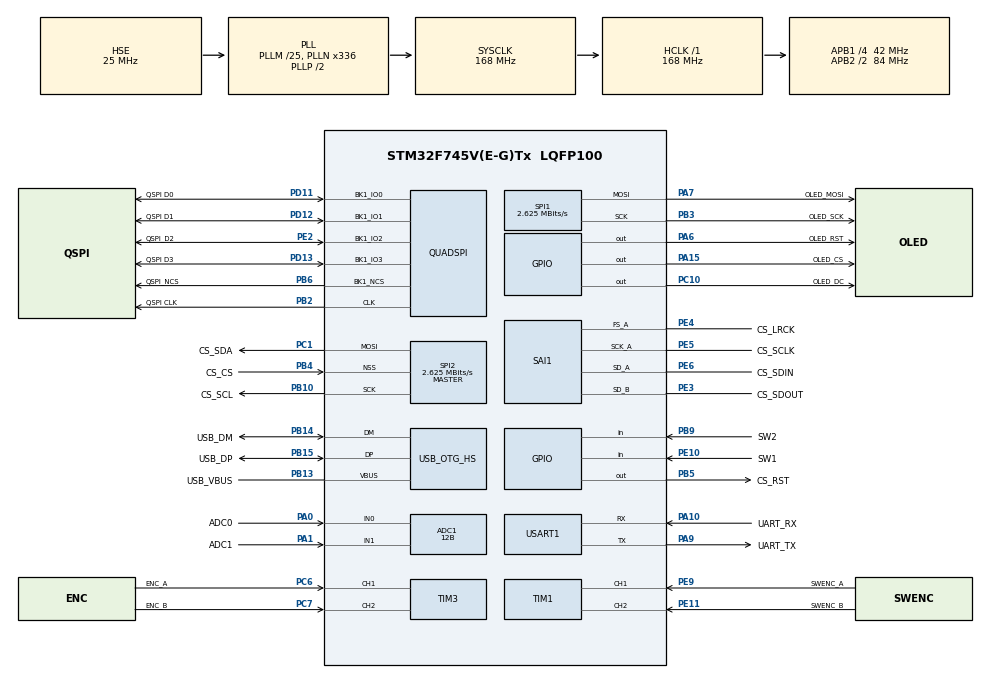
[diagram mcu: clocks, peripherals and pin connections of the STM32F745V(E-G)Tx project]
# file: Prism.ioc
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ADC1.Channel-4\#ChannelRegularConversion=ADC_CHANNEL_0
ADC1.Channel-5\#ChannelRegularConversion=ADC_CHANNEL_1
ADC1.ClockPrescaler=ADC_CLOCK_SYNC_PCLK_DIV8
ADC1.ContinuousConvMode=ENABLE
ADC1.DMAContinuousRequests=ENABLE
ADC1.DataAlign=ADC_DATAALIGN_RIGHT
ADC1.DiscontinuousConvMode=DISABLE
ADC1.EOCSelection=ADC_EOC_SINGLE_CONV
ADC1.EnableAnalogWatchDog=false
ADC1.ExternalTrigConvEdge=ADC_EXTERNALTRIGCONVEDGE_NONE
ADC1.InjNumberOfConversion=0
ADC1.NbrOfConversion=2
ADC1.NbrOfConversionFlag=1
ADC1.Rank-4\#ChannelRegularConversion=1
ADC1.Rank-5\#ChannelRegularConversion=2
ADC1.Resolution=ADC_RESOLUTION_12B
ADC1.SamplingTime-4\#ChannelRegularConversion=ADC_SAMPLETIME_144CYCLES
ADC1.SamplingTime-5\#ChannelRegularConversion=ADC_SAMPLETIME_144CYCLES
ADC1.ScanConvMode=ENABLE
ADC1.master=1
CORTEX_M7.ART_ACCLERATOR_ENABLE=0
CORTEX_M7.CPU_DCache=Disabled
CORTEX_M7.CPU_ICache=Disabled
CORTEX_M7.PREFETCH_ENABLE=0
Dma.ADC1.2.Direction=DMA_PERIPH_TO_MEMORY
Dma.ADC1.2.FIFOMode=DMA_FIFOMODE_DISABLE
Dma.ADC1.2.Instance=DMA2_Stream0
Dma.ADC1.2.MemDataAlignment=DMA_MDATAALIGN_HALFWORD
Dma.ADC1.2.MemInc=DMA_MINC_ENABLE
Dma.ADC1.2.Mode=DMA_CIRCULAR
Dma.ADC1.2.PeriphDataAlignment=DMA_PDATAALIGN_HALFWORD
Dma.ADC1.2.PeriphInc=DMA_PINC_DISABLE
Dma.ADC1.2.Priority=DMA_PRIORITY_LOW
Dma.Request0=SAI1_A
Dma.Request1=SAI1_B
Dma.Request2=ADC1
Dma.Request3=SPI1_TX
Dma.SAI1_A.0.Direction=DMA_MEMORY_TO_PERIPH
Dma.SAI1_A.0.FIFOMode=DMA_FIFOMODE_DISABLE
Dma.SAI1_A.0.Instance=DMA2_Stream1
Dma.SAI1_A.0.MemDataAlignment=DMA_MDATAALIGN_WORD
Dma.SAI1_A.0.MemInc=DMA_MINC_ENABLE
Dma.SAI1_A.0.Mode=DMA_CIRCULAR
Dma.SAI1_A.0.PeriphDataAlignment=DMA_PDATAALIGN_WORD
Dma.SAI1_A.0.PeriphInc=DMA_PINC_DISABLE
Dma.SAI1_A.0.Priority=DMA_PRIORITY_VERY_HIGH
Dma.SAI1_B.1.Direction=DMA_PERIPH_TO_MEMORY
Dma.SAI1_B.1.FIFOMode=DMA_FIFOMODE_DISABLE
Dma.SAI1_B.1.Instance=DMA2_Stream4
Dma.SAI1_B.1.MemDataAlignment=DMA_MDATAALIGN_WORD
Dma.SAI1_B.1.MemInc=DMA_MINC_ENABLE
Dma.SAI1_B.1.Mode=DMA_CIRCULAR
Dma.SAI1_B.1.PeriphDataAlignment=DMA_PDATAALIGN_WORD
Dma.SAI1_B.1.PeriphInc=DMA_PINC_DISABLE
Dma.SAI1_B.1.Priority=DMA_PRIORITY_VERY_HIGH
Dma.SPI1_TX.3.Direction=DMA_MEMORY_TO_PERIPH
Dma.SPI1_TX.3.FIFOMode=DMA_FIFOMODE_DISABLE
Dma.SPI1_TX.3.Instance=DMA2_Stream5
Dma.SPI1_TX.3.MemDataAlignment=DMA_MDATAALIGN_BYTE
Dma.SPI1_TX.3.MemInc=DMA_MINC_ENABLE
Dma.SPI1_TX.3.Mode=DMA_NORMAL
Dma.SPI1_TX.3.PeriphDataAlignment=DMA_PDATAALIGN_BYTE
Dma.SPI1_TX.3.PeriphInc=DMA_PINC_DISABLE
Dma.SPI1_TX.3.Priority=DMA_PRIORITY_LOW
FREERTOS.MEMORY_ALLOCATION=2
FREERTOS.Tasks01=defaultTask,0,128,StartDefaultTask
FREERTOS.configCHECK_FOR_STACK_OVERFLOW=1
FREERTOS.configGENERATE_RUN_TIME_STATS=0
FREERTOS.configUSE_MALLOC_FAILED_HOOK=1
FREERTOS.configUSE_MUTEXES=0
FREERTOS.configUSE_PREEMPTION=0
Mcu.Family=STM32F7
Mcu.Name=STM32F745V(E-G)Tx
Mcu.Package=LQFP100
NVIC.DMA2_Stream0_IRQn=true\:10\:0\:true\:false\:true\:true\:true
NVIC.DMA2_Stream1_IRQn=true\:5\:0\:false\:false\:true\:true\:true
NVIC.DMA2_Stream4_IRQn=true\:5\:0\:false\:false\:true\:true\:true
NVIC.DMA2_Stream5_IRQn=true\:0\:0\:false\:false\:true\:false\:false
NVIC.OTG_HS_IRQn=true\:10\:0\:true\:false\:true\:true\:true
NVIC.PriorityGroup=NVIC_PRIORITYGROUP_4
NVIC.SAI1_IRQn=true\:5\:0\:false\:false\:true\:true\:true
NVIC.SPI1_IRQn=true\:10\:0\:true\:false\:true\:true\:true
PA0/WKUP.GPIO_Label=ADC0
PA0/WKUP.Signal=ADCx_IN0
PA1.GPIO_Label=ADC1
PA1.Signal=ADCx_IN1
PA10.GPIO_Label=UART_RX
PA10.Mode=Multiprocessor_communication
PA10.Signal=USART1_RX
PA13.GPIO_Label=SWDIO
PA13.Mode=Serial_Wire
PA13.Signal=SYS_JTMS-SWDIO
PA14.GPIO_Label=SWDCLK
PA14.Mode=Serial_Wire
PA14.Signal=SYS_JTCK-SWCLK
PA15.GPIO_Label=OLED_CS
PA15.Signal=GPIO_Output
PA6.GPIO_Label=OLED_RST
PA6.Signal=GPIO_Output
PA7.GPIO_Label=OLED_MOSI
PA7.Mode=TX_Only_Simplex_Unidirect_Master
PA7.Signal=SPI1_MOSI
PA9.GPIO_Label=UART_TX
PA9.Mode=Multiprocessor_communication
PA9.Signal=USART1_TX
PB10.GPIO_Label=CS_SCL
PB10.Mode=TX_Only_Simplex_Unidirect_Master
PB10.Signal=SPI2_SCK
PB13.GPIO_Label=USB_VBUS
PB13.Mode=Activate_VBUS_FS
PB13.Signal=USB_OTG_HS_VBUS
PB14.GPIO_Label=USB_DM
PB14.Mode=Device_Only_FS
PB14.Signal=USB_OTG_HS_DM
PB15.GPIO_Label=USB_DP
PB15.Mode=Device_Only_FS
PB15.Signal=USB_OTG_HS_DP
PB2.GPIO_Label=QSPI CLK
PB2.Mode=Single Bank 1
PB2.Signal=QUADSPI_CLK
PB3.GPIO_Label=OLED_SCK
PB3.Mode=TX_Only_Simplex_Unidirect_Master
PB3.Signal=SPI1_SCK
PB4.GPIO_Label=CS_CS
PB4.Mode=NSS_Signal_Hard_Input
PB4.Signal=SPI2_NSS
PB5.GPIO_Label=CS_RST
PB5.Signal=GPIO_Output
PB6.GPIO_Label=QSPI_NCS
PB6.Mode=Single Bank 1
PB6.Signal=QUADSPI_BK1_NCS
PB9.GPIO_Label=SW2
PB9.Signal=GPIO_Input
PC1.GPIO_Label=CS_SDA
PC1.Mode=TX_Only_Simplex_Unidirect_Master
PC1.Signal=SPI2_MOSI
PC10.GPIO_Label=OLED_DC
PC10.Signal=GPIO_Output
PC6.GPIO_Label=ENC_A
PC6.GPIO_PuPd=GPIO_PULLUP
PC6.Signal=S_TIM3_CH1
PC7.GPIO_Label=ENC_B
PC7.GPIO_PuPd=GPIO_PULLUP
PC7.Signal=S_TIM3_CH2
PD11.GPIO_Label=QSPI D0
PD11.Mode=Single Bank 1
PD11.Signal=QUADSPI_BK1_IO0
PD12.GPIO_Label=QSPI D1
PD12.Mode=Single Bank 1
PD12.Signal=QUADSPI_BK1_IO1
PD13.GPIO_Label=QSPI D3
PD13.Mode=Single Bank 1
PD13.Signal=QUADSPI_BK1_IO3
PE10.GPIO_Label=SW1
PE10.Signal=GPIO_Input
PE11.GPIO_Label=SWENC_B
PE11.GPIO_PuPd=GPIO_PULLUP
PE11.Signal=S_TIM1_CH2
PE2.GPIO_Label=QSPI_D2
PE2.Mode=Single Bank 1
PE2.Signal=QUADSPI_BK1_IO2
PE3.GPIO_Label=CS_SDOUT
PE3.GPIO_Speed=GPIO_SPEED_FREQ_LOW
PE3.Mode=SAI_B_SyncSlave
PE3.Signal=SAI1_SD_B
PE4.GPIO_Label=CS_LRCK
PE4.GPIO_Speed=GPIO_SPEED_FREQ_LOW
PE4.Mode=SAI_A_AsyncSlave
PE4.Signal=SAI1_FS_A
PE5.GPIO_Label=CS_SCLK
PE5.GPIO_Speed=GPIO_SPEED_FREQ_LOW
PE5.Mode=SAI_A_AsyncSlave
PE5.Signal=SAI1_SCK_A
PE6.GPIO_Label=CS_SDIN
PE6.GPIO_Speed=GPIO_SPEED_FREQ_LOW
PE6.Mode=SAI_A_AsyncSlave
PE6.Signal=SAI1_SD_A
PE9.GPIO_Label=SWENC_A
PE9.GPIO_PuPd=GPIO_PULLUP
PE9.Signal=S_TIM1_CH1
PH0/OSC_IN.Mode=HSE-External-Oscillator
PH0/OSC_IN.Signal=RCC_OSC_IN
PH1/OSC_OUT.Mode=HSE-External-Oscillator
PH1/OSC_OUT.Signal=RCC_OSC_OUT
ProjectManager.HeapSize=0x200
ProjectManager.StackSize=0x400
ProjectManager.TargetToolchain=MDK-ARM V5
RCC.AHBFreq_Value=168000000
RCC.APB1CLKDivider=RCC_HCLK_DIV4
RCC.APB1Freq_Value=42000000
RCC.APB1TimFreq_Value=84000000
RCC.APB2CLKDivider=RCC_HCLK_DIV2
RCC.APB2Freq_Value=84000000
RCC.APB2TimFreq_Value=168000000
RCC.CortexFreq_Value=168000000
RCC.HCLKFreq_Value=168000000
RCC.HSE_VALUE=25000000
RCC.HSI_VALUE=16000000
RCC.LSE_VALUE=32768
RCC.PLLM=25
RCC.PLLN=336
RCC.PLLQ=7
RCC.PLLSAIN=100
RCC.SYSCLKFreq_VALUE=168000000
RCC.SYSCLKSource=RCC_SYSCLKSOURCE_PLLCLK
RCC.USBFreq_Value=48000000
RCC.VCOOutputFreq_Value=336000000
RCC.VDD_VALUE=3.3
SAI1.AudioMode-SAI_A_AsyncSlave=SAI_MODESLAVE_TX
SAI1.AudioMode-SAI_B_SyncSlave=SAI_MODESLAVE_RX
SAI1.BasicDataSize-SAI_A_AsyncSlave=SAI_PROTOCOL_DATASIZE_24BIT
SAI1.BasicDataSize-SAI_B_SyncSlave=SAI_PROTOCOL_DATASIZE_24BIT
SAI1.InitProtocol-SAI_A_AsyncSlave=Enable
SAI1.InitProtocol-SAI_B_SyncSlave=Enable
SAI1.Instance-SAI_A_AsyncSlave=SAI$Index_Block_A
SAI1.Instance-SAI_B_SyncSlave=SAI$Index_Block_B
SAI1.MonoStereoMode-SAI_A_AsyncSlave=SAI_STEREOMODE
SAI1.Synchro-SAI_A_AsyncSlave=SAI_ASYNCHRONOUS
SAI1.Synchro-SAI_B_SyncSlave=SAI_SYNCHRONOUS
SAI1.VirtualMode-SAI_A_AsyncSlave=VM_SLAVE
SAI1.VirtualMode-SAI_B_SyncSlave=VM_SLAVE
SAI1.VirtualProtocol-SAI_A_BASIC=VM_BASIC_PROTOCOL
SAI1.VirtualProtocol-SAI_B_BASIC=VM_BASIC_PROTOCOL
SH.ADCx_IN0.0=ADC1_IN0,IN0
SH.ADCx_IN1.0=ADC1_IN1,IN1
SH.S_TIM1_CH1.0=TIM1_CH1,Encoder_Interface
SH.S_TIM1_CH2.0=TIM1_CH2,Encoder_Interface
SH.S_TIM3_CH1.0=TIM3_CH1,Encoder_Interface
SH.S_TIM3_CH2.0=TIM3_CH2,Encoder_Interface
SPI1.BaudRatePrescaler=SPI_BAUDRATEPRESCALER_32
SPI1.CalculateBaudRate=2.625 MBits/s
SPI1.DataSize=SPI_DATASIZE_8BIT
SPI1.Direction=SPI_DIRECTION_2LINES
SPI1.Mode=SPI_MODE_MASTER
SPI1.NSSPMode=SPI_NSS_PULSE_DISABLE
SPI1.VirtualType=VM_MASTER
SPI2.BaudRatePrescaler=SPI_BAUDRATEPRESCALER_16
SPI2.CalculateBaudRate=2.625 MBits/s
SPI2.DataSize=SPI_DATASIZE_8BIT
SPI2.Direction=SPI_DIRECTION_2LINES
SPI2.Mode=SPI_MODE_MASTER
SPI2.VirtualNSS=VM_NSSHARD
SPI2.VirtualType=VM_MASTER
USART1.VirtualMode=VM_ASYNC
USART1.VirtualMode-Multiprocessor_communication=VM_ASYNC
USB_DEVICE.CLASS_NAME_HS=AUDIO
USB_DEVICE.MANUFACTURER_STRING-AUDIO_HS=Rebel Technology
USB_DEVICE.PID_AUDIO_HS=0xDADA
USB_DEVICE.PRODUCT_STRING_AUDIO_HS=OWL-MIDI
USB_DEVICE.SERIALNUMBER_STRING_AUDIO_HS=00000000010F
USB_DEVICE.USBD_HandleTypeDef-AUDIO_HS=hUsbDeviceHS
USB_DEVICE.VID-AUDIO_HS=0x1209
USB_DEVICE.VirtualMode-AUDIO_HS=Audio
USB_DEVICE.VirtualModeHS=Audio_HS
USB_OTG_HS.VirtualMode-Device_Only_FS=Device_Only_FS
VP_ADC1_TempSens_Input.Mode=IN-TempSens
VP_ADC1_Vref_Input.Mode=IN-Vrefint
VP_FREERTOS_VS_ENABLE.Mode=Enabled
VP_SAI1_VP_$IpInstance_SAIA_SAI_BASIC.Mode=SAI_A_BASIC
VP_SAI1_VP_$IpInstance_SAIB_SAI_BASIC.Mode=SAI_B_BASIC
VP_USB_DEVICE_VS_USB_DEVICE_AUDIO_HS.Mode=AUDIO_HS
board=Prism

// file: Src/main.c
/**
  ******************************************************************************
  * File Name          : main.c
  * Description        : Main program body
  ******************************************************************************
  * This notice applies to any and all portions of this file
  * that are not between comment pairs USER CODE BEGIN and
  * USER CODE END. Other portions of this file, whether
  * inserted by the user or by software development tools
  * are owned by their respective copyright owners.
  *
  * Copyright (c) 2017 STMicroelectronics International N.V.
  * All rights reserved.
  *
  * Redistribution and use in source and binary forms, with or without
  * modification, are permitted, provided that the following conditions are met:
  *
  * 1. Redistribution of source code must retain the above copyright notice,
  *    this list of conditions and the following disclaimer.
  * 2. Redistributions in binary form must reproduce the above copyright notice,
  *    this list of conditions and the following disclaimer in the documentation
  *    and/or other materials provided with the distribution.
  * 3. Neither the name of STMicroelectronics nor the names of other
  *    contributors to this software may be used to endorse or promote products
  *    derived from this software without specific written permission.
  * 4. This software, including modifications and/or derivative works of this
  *    software, must execute solely and exclusively on microcontroller or
  *    microprocessor devices manufactured by or for STMicroelectronics.
  * 5. Redistribution and use of this software other than as permitted under
  *    this license is void and will automatically terminate your rights under
  *    this license.
  *
  * THIS SOFTWARE IS PROVIDED BY STMICROELECTRONICS AND CONTRIBUTORS "AS IS"
  * AND ANY EXPRESS, IMPLIED OR STATUTORY WARRANTIES, INCLUDING, BUT NOT
  * LIMITED TO, THE IMPLIED WARRANTIES OF MERCHANTABILITY, FITNESS FOR A
  * PARTICULAR PURPOSE AND NON-INFRINGEMENT OF THIRD PARTY INTELLECTUAL PROPERTY
  * RIGHTS ARE DISCLAIMED TO THE FULLEST EXTENT PERMITTED BY LAW. IN NO EVENT
  * SHALL STMICROELECTRONICS OR CONTRIBUTORS BE LIABLE FOR ANY DIRECT, INDIRECT,
  * INCIDENTAL, SPECIAL, EXEMPLARY, OR CONSEQUENTIAL DAMAGES (INCLUDING, BUT NOT
  * LIMITED TO, PROCUREMENT OF SUBSTITUTE GOODS OR SERVICES; LOSS OF USE, DATA,
  * OR PROFITS; OR BUSINESS INTERRUPTION) HOWEVER CAUSED AND ON ANY THEORY OF
  * LIABILITY, WHETHER IN CONTRACT, STRICT LIABILITY, OR TORT (INCLUDING
  * NEGLIGENCE OR OTHERWISE) ARISING IN ANY WAY OUT OF THE USE OF THIS SOFTWARE,
  * EVEN IF ADVISED OF THE POSSIBILITY OF SUCH DAMAGE.
  *
  ******************************************************************************
  */
#include "main.h"
#include "stm32f7xx_hal.h"
#include "cmsis_os.h"
#include "usb_device.h"

/* USER CODE BEGIN Includes */
void setup();
void loop(void);

/* USER CODE END Includes */

ADC_HandleTypeDef hadc1;
DMA_HandleTypeDef hdma_adc1;

QSPI_HandleTypeDef hqspi;

SAI_HandleTypeDef hsai_BlockA1;
SAI_HandleTypeDef hsai_BlockB1;
DMA_HandleTypeDef hdma_sai1_a;
DMA_HandleTypeDef hdma_sai1_b;

SPI_HandleTypeDef hspi1;
SPI_HandleTypeDef hspi2;
DMA_HandleTypeDef hdma_spi1_tx;

TIM_HandleTypeDef htim1;
TIM_HandleTypeDef htim3;

UART_HandleTypeDef huart1;

osThreadId defaultTaskHandle;

/* USER CODE BEGIN PV */
/* Private variables ---------------------------------------------------------*/

/* USER CODE END PV */

void SystemClock_Config(void);
static void MX_GPIO_Init(void);
static void MX_DMA_Init(void);
static void MX_ADC1_Init(void);
static void MX_QUADSPI_Init(void);
static void MX_SAI1_Init(void);
static void MX_SPI1_Init(void);
static void MX_SPI2_Init(void);
static void MX_TIM1_Init(void);
static void MX_TIM3_Init(void);
static void MX_USART1_UART_Init(void);
void StartDefaultTask(void const * argument);

/* USER CODE BEGIN PFP */
/* Private function prototypes -----------------------------------------------*/

/* USER CODE END PFP */

int main(void)
{

  /* MCU Configuration----------------------------------------------------------*/

  /* Reset of all peripherals, Initializes the Flash interface and the Systick. */
  HAL_Init();

  /* Configure the system clock */
  SystemClock_Config();

  /* Initialize all configured peripherals */
  MX_GPIO_Init();
  MX_DMA_Init();
  MX_ADC1_Init();
  MX_QUADSPI_Init();
  MX_SAI1_Init();
  MX_SPI1_Init();
  MX_SPI2_Init();
  MX_TIM1_Init();
  MX_TIM3_Init();
  MX_USART1_UART_Init();

  /* USER CODE BEGIN 2 */
  __HAL_SAI_ENABLE(&hsai_BlockA1);
  __HAL_SAI_ENABLE(&hsai_BlockB1);

#ifdef OVERRIDE_CODEC_CONFIG
  HAL_SAI_DeInit(&hsai_BlockA1);
  HAL_SAI_DeInit(&hsai_BlockB1);
  hsai_BlockA1.Instance = SAI1_Block_A;
  hsai_BlockA1.Init.AudioMode = SAI_MODESLAVE_TX;
  hsai_BlockA1.Init.Synchro = SAI_ASYNCHRONOUS;
  hsai_BlockA1.Init.OutputDrive = SAI_OUTPUTDRIVE_DISABLE;
  hsai_BlockA1.Init.FIFOThreshold = SAI_FIFOTHRESHOLD_EMPTY;
  hsai_BlockA1.Init.SynchroExt = SAI_SYNCEXT_DISABLE;
  hsai_BlockA1.Init.MonoStereoMode = SAI_STEREOMODE;
  hsai_BlockA1.Init.CompandingMode = SAI_NOCOMPANDING;
  hsai_BlockA1.Init.TriState = SAI_OUTPUT_NOTRELEASED;
  if (HAL_SAI_InitProtocol(&hsai_BlockA1, SAI_I2S_STANDARD, SAI_PROTOCOL_DATASIZE_24BIT, 2) != HAL_OK)
    Error_Handler();
  hsai_BlockB1.Instance = SAI1_Block_B;
  hsai_BlockB1.Init.AudioMode = SAI_MODESLAVE_RX;
  hsai_BlockB1.Init.Synchro = SAI_SYNCHRONOUS;
  hsai_BlockB1.Init.OutputDrive = SAI_OUTPUTDRIVE_DISABLE;
  hsai_BlockB1.Init.FIFOThreshold = SAI_FIFOTHRESHOLD_EMPTY;
  hsai_BlockB1.Init.SynchroExt = SAI_SYNCEXT_DISABLE;
  hsai_BlockB1.Init.MonoStereoMode = SAI_STEREOMODE;
  hsai_BlockB1.Init.CompandingMode = SAI_NOCOMPANDING;
  hsai_BlockB1.Init.TriState = SAI_OUTPUT_NOTRELEASED;
  if (HAL_SAI_InitProtocol(&hsai_BlockB1, SAI_I2S_STANDARD, SAI_PROTOCOL_DATASIZE_24BIT, 2) != HAL_OK)
    Error_Handler();
#endif /* OVERRIDE_CODEC_CONFIG */

  // Initialise
  setup();
  /* USER CODE END 2 */

  /* Create the thread(s) */
  /* definition and creation of defaultTask */
  osThreadDef(defaultTask, StartDefaultTask, osPriorityNormal, 0, 128);
  defaultTaskHandle = osThreadCreate(osThread(defaultTask), NULL);

  /* Start scheduler */
  osKernelStart();

  /* We should never get here as control is now taken by the scheduler */

  /* Infinite loop */
  while (1)
  {

  }

}

/** System Clock Configuration
*/
void SystemClock_Config(void)
{

  RCC_OscInitTypeDef RCC_OscInitStruct;
  RCC_ClkInitTypeDef RCC_ClkInitStruct;
  RCC_PeriphCLKInitTypeDef PeriphClkInitStruct;

    /**Configure the main internal regulator output voltage
    */
  __HAL_RCC_PWR_CLK_ENABLE();

  __HAL_PWR_VOLTAGESCALING_CONFIG(PWR_REGULATOR_VOLTAGE_SCALE2);

    /**Initializes the CPU, AHB and APB busses clocks
    */
  RCC_OscInitStruct.OscillatorType = RCC_OSCILLATORTYPE_HSE;
  RCC_OscInitStruct.HSEState = RCC_HSE_ON;
  RCC_OscInitStruct.PLL.PLLState = RCC_PLL_ON;
  RCC_OscInitStruct.PLL.PLLSource = RCC_PLLSOURCE_HSE;
  RCC_OscInitStruct.PLL.PLLM = 25;
  RCC_OscInitStruct.PLL.PLLN = 336;
  RCC_OscInitStruct.PLL.PLLP = RCC_PLLP_DIV2;
  RCC_OscInitStruct.PLL.PLLQ = 7;
  if (HAL_RCC_OscConfig(&RCC_OscInitStruct) != HAL_OK)
  {
    _Error_Handler(__FILE__, __LINE__);
  }

    /**Initializes the CPU, AHB and APB busses clocks
    */
  RCC_ClkInitStruct.ClockType = RCC_CLOCKTYPE_HCLK|RCC_CLOCKTYPE_SYSCLK
                              |RCC_CLOCKTYPE_PCLK1|RCC_CLOCKTYPE_PCLK2;
  RCC_ClkInitStruct.SYSCLKSource = RCC_SYSCLKSOURCE_PLLCLK;
  RCC_ClkInitStruct.AHBCLKDivider = RCC_SYSCLK_DIV1;
  RCC_ClkInitStruct.APB1CLKDivider = RCC_HCLK_DIV4;
  RCC_ClkInitStruct.APB2CLKDivider = RCC_HCLK_DIV2;

  if (HAL_RCC_ClockConfig(&RCC_ClkInitStruct, FLASH_LATENCY_5) != HAL_OK)
  {
    _Error_Handler(__FILE__, __LINE__);
  }

  PeriphClkInitStruct.PeriphClockSelection = RCC_PERIPHCLK_USART1|RCC_PERIPHCLK_SAI1
                              |RCC_PERIPHCLK_CLK48;
  PeriphClkInitStruct.PLLSAI.PLLSAIN = 100;
  PeriphClkInitStruct.PLLSAI.PLLSAIR = 2;
  PeriphClkInitStruct.PLLSAI.PLLSAIQ = 2;
  PeriphClkInitStruct.PLLSAI.PLLSAIP = RCC_PLLSAIP_DIV2;
  PeriphClkInitStruct.PLLSAIDivQ = 1;
  PeriphClkInitStruct.PLLSAIDivR = RCC_PLLSAIDIVR_2;
  PeriphClkInitStruct.Sai1ClockSelection = RCC_SAI1CLKSOURCE_PLLSAI;
  PeriphClkInitStruct.Usart1ClockSelection = RCC_USART1CLKSOURCE_PCLK2;
  PeriphClkInitStruct.Clk48ClockSelection = RCC_CLK48SOURCE_PLL;
  if (HAL_RCCEx_PeriphCLKConfig(&PeriphClkInitStruct) != HAL_OK)
  {
    _Error_Handler(__FILE__, __LINE__);
  }

    /**Configure the Systick interrupt time
    */
  HAL_SYSTICK_Config(HAL_RCC_GetHCLKFreq()/1000);

    /**Configure the Systick
    */
  HAL_SYSTICK_CLKSourceConfig(SYSTICK_CLKSOURCE_HCLK);

  /* SysTick_IRQn interrupt configuration */
  HAL_NVIC_SetPriority(SysTick_IRQn, 15, 0);
}

/* ADC1 init function */
static void MX_ADC1_Init(void)
{

  ADC_ChannelConfTypeDef sConfig;

    /**Configure the global features of the ADC (Clock, Resolution, Data Alignment and number of conversion)
    */
  hadc1.Instance = ADC1;
  hadc1.Init.ClockPrescaler = ADC_CLOCK_SYNC_PCLK_DIV8;
  hadc1.Init.Resolution = ADC_RESOLUTION_12B;
  hadc1.Init.ScanConvMode = ENABLE;
  hadc1.Init.ContinuousConvMode = ENABLE;
  hadc1.Init.DiscontinuousConvMode = DISABLE;
  hadc1.Init.ExternalTrigConvEdge = ADC_EXTERNALTRIGCONVEDGE_NONE;
  hadc1.Init.ExternalTrigConv = ADC_SOFTWARE_START;
  hadc1.Init.DataAlign = ADC_DATAALIGN_RIGHT;
  hadc1.Init.NbrOfConversion = 2;
  hadc1.Init.DMAContinuousRequests = ENABLE;
  hadc1.Init.EOCSelection = ADC_EOC_SINGLE_CONV;
  if (HAL_ADC_Init(&hadc1) != HAL_OK)
  {
    _Error_Handler(__FILE__, __LINE__);
  }

    /**Configure for the selected ADC regular channel its corresponding rank in the sequencer and its sample time.
    */
  sConfig.Channel = ADC_CHANNEL_0;
  sConfig.Rank = 1;
  sConfig.SamplingTime = ADC_SAMPLETIME_144CYCLES;
  if (HAL_ADC_ConfigChannel(&hadc1, &sConfig) != HAL_OK)
  {
    _Error_Handler(__FILE__, __LINE__);
  }

    /**Configure for the selected ADC regular channel its corresponding rank in the sequencer and its sample time.
    */
  sConfig.Channel = ADC_CHANNEL_1;
  sConfig.Rank = 2;
  if (HAL_ADC_ConfigChannel(&hadc1, &sConfig) != HAL_OK)
  {
    _Error_Handler(__FILE__, __LINE__);
  }

}

/* QUADSPI init function */
static void MX_QUADSPI_Init(void)
{

  /* QUADSPI parameter configuration*/
  hqspi.Instance = QUADSPI;
  hqspi.Init.ClockPrescaler = 255;
  hqspi.Init.FifoThreshold = 1;
  hqspi.Init.SampleShifting = QSPI_SAMPLE_SHIFTING_NONE;
  hqspi.Init.FlashSize = 1;
  hqspi.Init.ChipSelectHighTime = QSPI_CS_HIGH_TIME_1_CYCLE;
  hqspi.Init.ClockMode = QSPI_CLOCK_MODE_0;
  hqspi.Init.FlashID = QSPI_FLASH_ID_1;
  hqspi.Init.DualFlash = QSPI_DUALFLASH_DISABLE;
  if (HAL_QSPI_Init(&hqspi) != HAL_OK)
  {
    _Error_Handler(__FILE__, __LINE__);
  }

}

/* SAI1 init function */
static void MX_SAI1_Init(void)
{
  HAL_SAI_DeInit(&hsai_BlockA1);
  hsai_BlockA1.Instance = SAI1_Block_A;
  hsai_BlockA1.Init.Protocol = SAI_FREE_PROTOCOL;
  hsai_BlockA1.Init.AudioMode = SAI_MODESLAVE_TX;
  hsai_BlockA1.Init.AudioFrequency = SAI_AUDIO_FREQUENCY_MCKDIV;
  hsai_BlockA1.Init.DataSize = SAI_DATASIZE_24;
  hsai_BlockA1.Init.FirstBit = SAI_FIRSTBIT_MSB;
  hsai_BlockA1.Init.ClockStrobing = SAI_CLOCKSTROBING_RISINGEDGE;
  hsai_BlockA1.Init.Synchro = SAI_ASYNCHRONOUS;
  hsai_BlockA1.Init.OutputDrive = SAI_OUTPUTDRIVE_DISABLED;
  hsai_BlockA1.Init.FIFOThreshold = SAI_FIFOTHRESHOLD_EMPTY;
  hsai_BlockA1.Init.SynchroExt = SAI_SYNCEXT_DISABLE;
  hsai_BlockA1.Init.MonoStereoMode = SAI_STEREOMODE;
  hsai_BlockA1.Init.CompandingMode = SAI_NOCOMPANDING;
  hsai_BlockA1.Init.TriState = SAI_OUTPUT_NOTRELEASED;
  hsai_BlockA1.FrameInit.FrameLength = 64;
  hsai_BlockA1.FrameInit.ActiveFrameLength = 32;
  hsai_BlockA1.FrameInit.FSDefinition = SAI_FS_CHANNEL_IDENTIFICATION;
  hsai_BlockA1.FrameInit.FSPolarity = SAI_FS_ACTIVE_LOW;
  hsai_BlockA1.FrameInit.FSOffset = SAI_FS_BEFOREFIRSTBIT;
  hsai_BlockA1.SlotInit.FirstBitOffset = 0;
  hsai_BlockA1.SlotInit.SlotSize = SAI_SLOTSIZE_32B;
  hsai_BlockA1.SlotInit.SlotNumber = 2;
  hsai_BlockA1.SlotInit.SlotActive = SAI_SLOTACTIVE_ALL;
  if(HAL_SAI_Init(&hsai_BlockA1) != HAL_OK)
    _Error_Handler(__FILE__, __LINE__);
    /* error(CONFIG_ERROR, "failed to initialise sai tx"); */

  HAL_SAI_DeInit(&hsai_BlockB1); // added
  hsai_BlockB1.Instance = SAI1_Block_B;
  hsai_BlockB1.Init.Protocol = SAI_FREE_PROTOCOL;
  hsai_BlockB1.Init.AudioMode = SAI_MODESLAVE_RX;
  hsai_BlockB1.Init.AudioFrequency = SAI_AUDIO_FREQUENCY_MCKDIV; // added
  hsai_BlockB1.Init.DataSize = SAI_DATASIZE_24;
  hsai_BlockB1.Init.FirstBit = SAI_FIRSTBIT_MSB;
  hsai_BlockB1.Init.ClockStrobing = SAI_CLOCKSTROBING_RISINGEDGE; // was: SAI_CLOCKSTROBING_FALLINGEDGE;
  hsai_BlockB1.Init.Synchro = SAI_SYNCHRONOUS;
  hsai_BlockB1.Init.OutputDrive = SAI_OUTPUTDRIVE_DISABLED;
  hsai_BlockB1.Init.FIFOThreshold = SAI_FIFOTHRESHOLD_EMPTY;
  hsai_BlockB1.Init.SynchroExt = SAI_SYNCEXT_DISABLE;
  hsai_BlockB1.Init.MonoStereoMode = SAI_STEREOMODE;
  hsai_BlockB1.Init.CompandingMode = SAI_NOCOMPANDING;
  hsai_BlockB1.Init.TriState = SAI_OUTPUT_NOTRELEASED;
  hsai_BlockB1.FrameInit.FrameLength = 64; // was: 24;
  hsai_BlockB1.FrameInit.ActiveFrameLength = 32; // was: 1;
  hsai_BlockB1.FrameInit.FSDefinition = SAI_FS_CHANNEL_IDENTIFICATION; // was: SAI_FS_STARTFRAME;
  // I2S Standard format
  hsai_BlockB1.FrameInit.FSPolarity = SAI_FS_ACTIVE_LOW;
  hsai_BlockB1.FrameInit.FSOffset = SAI_FS_BEFOREFIRSTBIT; // was: SAI_FS_FIRSTBIT;
  hsai_BlockB1.SlotInit.FirstBitOffset = 0;
  hsai_BlockB1.SlotInit.SlotSize = SAI_SLOTSIZE_32B; // was: SAI_SLOTSIZE_DATASIZE;
  hsai_BlockB1.SlotInit.SlotNumber = 2; // was: 1;
  hsai_BlockB1.SlotInit.SlotActive = SAI_SLOTACTIVE_ALL;
  if(HAL_SAI_Init(&hsai_BlockB1) != HAL_OK)
    _Error_Handler(__FILE__, __LINE__);
    /* error(CONFIG_ERROR, "failed to initialise sai rx"); */

}

/* SPI1 init function */
static void MX_SPI1_Init(void)
{

  /* SPI1 parameter configuration*/
  hspi1.Instance = SPI1;
  hspi1.Init.Mode = SPI_MODE_MASTER;
  hspi1.Init.Direction = SPI_DIRECTION_2LINES;
  hspi1.Init.DataSize = SPI_DATASIZE_8BIT;
  hspi1.Init.CLKPolarity = SPI_POLARITY_LOW;
  hspi1.Init.CLKPhase = SPI_PHASE_1EDGE;
  hspi1.Init.NSS = SPI_NSS_SOFT;
  hspi1.Init.BaudRatePrescaler = SPI_BAUDRATEPRESCALER_32;
  hspi1.Init.FirstBit = SPI_FIRSTBIT_MSB;
  hspi1.Init.TIMode = SPI_TIMODE_DISABLE;
  hspi1.Init.CRCCalculation = SPI_CRCCALCULATION_DISABLE;
  hspi1.Init.CRCPolynomial = 7;
  hspi1.Init.CRCLength = SPI_CRC_LENGTH_DATASIZE;
  hspi1.Init.NSSPMode = SPI_NSS_PULSE_DISABLE;
  if (HAL_SPI_Init(&hspi1) != HAL_OK)
  {
    _Error_Handler(__FILE__, __LINE__);
  }

}

/* SPI2 init function */
static void MX_SPI2_Init(void)
{

  /* SPI2 parameter configuration*/
  hspi2.Instance = SPI2;
  hspi2.Init.Mode = SPI_MODE_MASTER;
  hspi2.Init.Direction = SPI_DIRECTION_2LINES;
  hspi2.Init.DataSize = SPI_DATASIZE_8BIT;
  hspi2.Init.CLKPolarity = SPI_POLARITY_LOW;
  hspi2.Init.CLKPhase = SPI_PHASE_1EDGE;
  hspi2.Init.NSS = SPI_NSS_HARD_INPUT;
  hspi2.Init.BaudRatePrescaler = SPI_BAUDRATEPRESCALER_16;
  hspi2.Init.FirstBit = SPI_FIRSTBIT_MSB;
  hspi2.Init.TIMode = SPI_TIMODE_DISABLE;
  hspi2.Init.CRCCalculation = SPI_CRCCALCULATION_DISABLE;
  hspi2.Init.CRCPolynomial = 7;
  hspi2.Init.CRCLength = SPI_CRC_LENGTH_DATASIZE;
  hspi2.Init.NSSPMode = SPI_NSS_PULSE_ENABLE;
  if (HAL_SPI_Init(&hspi2) != HAL_OK)
  {
    _Error_Handler(__FILE__, __LINE__);
  }

}

/* TIM1 init function */
static void MX_TIM1_Init(void)
{

  TIM_Encoder_InitTypeDef sConfig;
  TIM_MasterConfigTypeDef sMasterConfig;

  htim1.Instance = TIM1;
  htim1.Init.Prescaler = 0;
  htim1.Init.CounterMode = TIM_COUNTERMODE_UP;
  htim1.Init.Period = 0;
  htim1.Init.ClockDivision = TIM_CLOCKDIVISION_DIV1;
  htim1.Init.RepetitionCounter = 0;
  htim1.Init.AutoReloadPreload = TIM_AUTORELOAD_PRELOAD_DISABLE;
  sConfig.EncoderMode = TIM_ENCODERMODE_TI1;
  sConfig.IC1Polarity = TIM_ICPOLARITY_RISING;
  sConfig.IC1Selection = TIM_ICSELECTION_DIRECTTI;
  sConfig.IC1Prescaler = TIM_ICPSC_DIV1;
  sConfig.IC1Filter = 0;
  sConfig.IC2Polarity = TIM_ICPOLARITY_RISING;
  sConfig.IC2Selection = TIM_ICSELECTION_DIRECTTI;
  sConfig.IC2Prescaler = TIM_ICPSC_DIV1;
  sConfig.IC2Filter = 0;
  if (HAL_TIM_Encoder_Init(&htim1, &sConfig) != HAL_OK)
  {
    _Error_Handler(__FILE__, __LINE__);
  }

  sMasterConfig.MasterOutputTrigger = TIM_TRGO_RESET;
  sMasterConfig.MasterOutputTrigger2 = TIM_TRGO2_RESET;
  sMasterConfig.MasterSlaveMode = TIM_MASTERSLAVEMODE_DISABLE;
  if (HAL_TIMEx_MasterConfigSynchronization(&htim1, &sMasterConfig) != HAL_OK)
  {
    _Error_Handler(__FILE__, __LINE__);
  }

}

/* TIM3 init function */
static void MX_TIM3_Init(void)
{

  TIM_Encoder_InitTypeDef sConfig;
  TIM_MasterConfigTypeDef sMasterConfig;

  htim3.Instance = TIM3;
  htim3.Init.Prescaler = 0;
  htim3.Init.CounterMode = TIM_COUNTERMODE_UP;
  htim3.Init.Period = 0;
  htim3.Init.ClockDivision = TIM_CLOCKDIVISION_DIV1;
  htim3.Init.AutoReloadPreload = TIM_AUTORELOAD_PRELOAD_DISABLE;
  sConfig.EncoderMode = TIM_ENCODERMODE_TI1;
  sConfig.IC1Polarity = TIM_ICPOLARITY_RISING;
  sConfig.IC1Selection = TIM_ICSELECTION_DIRECTTI;
  sConfig.IC1Prescaler = TIM_ICPSC_DIV1;
  sConfig.IC1Filter = 0;
  sConfig.IC2Polarity = TIM_ICPOLARITY_RISING;
  sConfig.IC2Selection = TIM_ICSELECTION_DIRECTTI;
  sConfig.IC2Prescaler = TIM_ICPSC_DIV1;
  sConfig.IC2Filter = 0;
  if (HAL_TIM_Encoder_Init(&htim3, &sConfig) != HAL_OK)
  {
    _Error_Handler(__FILE__, __LINE__);
  }

  sMasterConfig.MasterOutputTrigger = TIM_TRGO_RESET;
  sMasterConfig.MasterSlaveMode = TIM_MASTERSLAVEMODE_DISABLE;
  if (HAL_TIMEx_MasterConfigSynchronization(&htim3, &sMasterConfig) != HAL_OK)
  {
    _Error_Handler(__FILE__, __LINE__);
  }

}

/* USART1 init function */
static void MX_USART1_UART_Init(void)
{

  huart1.Instance = USART1;
  huart1.Init.BaudRate = 115200;
  huart1.Init.WordLength = UART_WORDLENGTH_7B;
  huart1.Init.StopBits = UART_STOPBITS_1;
  huart1.Init.Parity = UART_PARITY_NONE;
  huart1.Init.Mode = UART_MODE_TX_RX;
  huart1.Init.HwFlowCtl = UART_HWCONTROL_NONE;
  huart1.Init.OverSampling = UART_OVERSAMPLING_16;
  huart1.Init.OneBitSampling = UART_ONE_BIT_SAMPLE_DISABLE;
  huart1.AdvancedInit.AdvFeatureInit = UART_ADVFEATURE_NO_INIT;
  if (HAL_MultiProcessor_Init(&huart1, 0, UART_WAKEUPMETHOD_IDLELINE) != HAL_OK)
  {
    _Error_Handler(__FILE__, __LINE__);
  }

}

static void MX_DMA_Init(void)
{
  /* DMA controller clock enable */
  __HAL_RCC_DMA2_CLK_ENABLE();

  /* DMA interrupt init */
  /* DMA2_Stream0_IRQn interrupt configuration */
  HAL_NVIC_SetPriority(DMA2_Stream0_IRQn, 10, 0);
  HAL_NVIC_EnableIRQ(DMA2_Stream0_IRQn);
  /* DMA2_Stream1_IRQn interrupt configuration */
  HAL_NVIC_SetPriority(DMA2_Stream1_IRQn, 5, 0);
  HAL_NVIC_EnableIRQ(DMA2_Stream1_IRQn);
  /* DMA2_Stream4_IRQn interrupt configuration */
  HAL_NVIC_SetPriority(DMA2_Stream4_IRQn, 5, 0);
  HAL_NVIC_EnableIRQ(DMA2_Stream4_IRQn);
  /* DMA2_Stream5_IRQn interrupt configuration */
  HAL_NVIC_SetPriority(DMA2_Stream5_IRQn, 0, 0);
  HAL_NVIC_EnableIRQ(DMA2_Stream5_IRQn);

}

/** Configure pins as
        * Analog
        * Input
        * Output
        * EVENT_OUT
        * EXTI
*/
static void MX_GPIO_Init(void)
{

  GPIO_InitTypeDef GPIO_InitStruct;

  /* GPIO Ports Clock Enable */
  __HAL_RCC_GPIOE_CLK_ENABLE();
  __HAL_RCC_GPIOH_CLK_ENABLE();
  __HAL_RCC_GPIOC_CLK_ENABLE();
  __HAL_RCC_GPIOA_CLK_ENABLE();
  __HAL_RCC_GPIOB_CLK_ENABLE();
  __HAL_RCC_GPIOD_CLK_ENABLE();

  /*Configure GPIO pin Output Level */
  HAL_GPIO_WritePin(GPIOA, OLED_RST_Pin|OLED_CS_Pin, GPIO_PIN_RESET);

  /*Configure GPIO pin Output Level */
  HAL_GPIO_WritePin(OLED_DC_GPIO_Port, OLED_DC_Pin, GPIO_PIN_RESET);

  /*Configure GPIO pin Output Level */
  HAL_GPIO_WritePin(CS_RST_GPIO_Port, CS_RST_Pin, GPIO_PIN_RESET);

  /*Configure GPIO pins : OLED_RST_Pin OLED_CS_Pin */
  GPIO_InitStruct.Pin = OLED_RST_Pin|OLED_CS_Pin;
  GPIO_InitStruct.Mode = GPIO_MODE_OUTPUT_PP;
  GPIO_InitStruct.Pull = GPIO_NOPULL;
  GPIO_InitStruct.Speed = GPIO_SPEED_FREQ_LOW;
  HAL_GPIO_Init(GPIOA, &GPIO_InitStruct);

  /*Configure GPIO pin : SW1_Pin */
  GPIO_InitStruct.Pin = SW1_Pin;
  GPIO_InitStruct.Mode = GPIO_MODE_INPUT;
  GPIO_InitStruct.Pull = GPIO_NOPULL;
  HAL_GPIO_Init(SW1_GPIO_Port, &GPIO_InitStruct);

  /*Configure GPIO pin : OLED_DC_Pin */
  GPIO_InitStruct.Pin = OLED_DC_Pin;
  GPIO_InitStruct.Mode = GPIO_MODE_OUTPUT_PP;
  GPIO_InitStruct.Pull = GPIO_NOPULL;
  GPIO_InitStruct.Speed = GPIO_SPEED_FREQ_LOW;
  HAL_GPIO_Init(OLED_DC_GPIO_Port, &GPIO_InitStruct);

  /*Configure GPIO pin : CS_RST_Pin */
  GPIO_InitStruct.Pin = CS_RST_Pin;
  GPIO_InitStruct.Mode = GPIO_MODE_OUTPUT_PP;
  GPIO_InitStruct.Pull = GPIO_NOPULL;
  GPIO_InitStruct.Speed = GPIO_SPEED_FREQ_LOW;
  HAL_GPIO_Init(CS_RST_GPIO_Port, &GPIO_InitStruct);

  /*Configure GPIO pin : SW2_Pin */
  GPIO_InitStruct.Pin = SW2_Pin;
  GPIO_InitStruct.Mode = GPIO_MODE_INPUT;
  GPIO_InitStruct.Pull = GPIO_NOPULL;
  HAL_GPIO_Init(SW2_GPIO_Port, &GPIO_InitStruct);

}

/* StartDefaultTask function */
void StartDefaultTask(void const * argument)
{
  /* init code for USB_DEVICE */
  MX_USB_DEVICE_Init();

  /* USER CODE BEGIN 5 */
  /* Infinite loop */
  for(;;)
  {
    loop();
    /* osDelay(1); */
  }
  /* USER CODE END 5 */
}

void _Error_Handler(char * file, int line)
{
  /* USER CODE BEGIN Error_Handler_Debug */
  /* User can add his own implementation to report the HAL error return state */
#ifdef DEBUG
  __asm__("BKPT");
#else
  NVIC_SystemReset();
#endif
  /* USER CODE END Error_Handler_Debug */
}

#ifdef USE_FULL_ASSERT

/**
   * @brief Reports the name of the source file and the source line number
   * where the assert_param error has occurred.
   * @param file: pointer to the source file name
   * @param line: assert_param error line source number
   * @retval None
   */
void assert_failed(uint8_t* file, uint32_t line)
{
  /* USER CODE BEGIN 6 */
  /* User can add his own implementation to report the file name and line number,
    ex: printf("Wrong parameters value: file %s on line %d\r\n", file, line) */
#ifdef DEBUG
  __asm__("BKPT");
#else
  NVIC_SystemReset();
#endif
  /* USER CODE END 6 */

}

#endif

/************************ (C) COPYRIGHT STMicroelectronics *****END OF FILE****/

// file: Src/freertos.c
/**
  ******************************************************************************
  * File Name          : freertos.c
  * Description        : Code for freertos applications
  ******************************************************************************
  * This notice applies to any and all portions of this file
  * that are not between comment pairs USER CODE BEGIN and
  * USER CODE END. Other portions of this file, whether
  * inserted by the user or by software development tools
  * are owned by their respective copyright owners.
  *
  * Copyright (c) 2017 STMicroelectronics International N.V.
  * All rights reserved.
  *
  * Redistribution and use in source and binary forms, with or without
  * modification, are permitted, provided that the following conditions are met:
  *
  * 1. Redistribution of source code must retain the above copyright notice,
  *    this list of conditions and the following disclaimer.
  * 2. Redistributions in binary form must reproduce the above copyright notice,
  *    this list of conditions and the following disclaimer in the documentation
  *    and/or other materials provided with the distribution.
  * 3. Neither the name of STMicroelectronics nor the names of other
  *    contributors to this software may be used to endorse or promote products
  *    derived from this software without specific written permission.
  * 4. This software, including modifications and/or derivative works of this
  *    software, must execute solely and exclusively on microcontroller or
  *    microprocessor devices manufactured by or for STMicroelectronics.
  * 5. Redistribution and use of this software other than as permitted under
  *    this license is void and will automatically terminate your rights under
  *    this license.
  *
  * THIS SOFTWARE IS PROVIDED BY STMICROELECTRONICS AND CONTRIBUTORS "AS IS"
  * AND ANY EXPRESS, IMPLIED OR STATUTORY WARRANTIES, INCLUDING, BUT NOT
  * LIMITED TO, THE IMPLIED WARRANTIES OF MERCHANTABILITY, FITNESS FOR A
  * PARTICULAR PURPOSE AND NON-INFRINGEMENT OF THIRD PARTY INTELLECTUAL PROPERTY
  * RIGHTS ARE DISCLAIMED TO THE FULLEST EXTENT PERMITTED BY LAW. IN NO EVENT
  * SHALL STMICROELECTRONICS OR CONTRIBUTORS BE LIABLE FOR ANY DIRECT, INDIRECT,
  * INCIDENTAL, SPECIAL, EXEMPLARY, OR CONSEQUENTIAL DAMAGES (INCLUDING, BUT NOT
  * LIMITED TO, PROCUREMENT OF SUBSTITUTE GOODS OR SERVICES; LOSS OF USE, DATA,
  * OR PROFITS; OR BUSINESS INTERRUPTION) HOWEVER CAUSED AND ON ANY THEORY OF
  * LIABILITY, WHETHER IN CONTRACT, STRICT LIABILITY, OR TORT (INCLUDING
  * NEGLIGENCE OR OTHERWISE) ARISING IN ANY WAY OUT OF THE USE OF THIS SOFTWARE,
  * EVEN IF ADVISED OF THE POSSIBILITY OF SUCH DAMAGE.
  *
  ******************************************************************************
  */

#include "FreeRTOS.h"
#include "task.h"

/* GetIdleTaskMemory prototype (linked to static allocation support) */
void vApplicationGetIdleTaskMemory( StaticTask_t **ppxIdleTaskTCBBuffer, StackType_t **ppxIdleTaskStackBuffer, uint32_t *pulIdleTaskStackSize );

/* Hook prototypes */
void vApplicationStackOverflowHook(xTaskHandle xTask, signed char *pcTaskName);
void vApplicationMallocFailedHook(void);

/* USER CODE BEGIN GET_IDLE_TASK_MEMORY */
static StaticTask_t xIdleTaskTCBBuffer;
static StackType_t xIdleStack[configMINIMAL_STACK_SIZE];

void vApplicationGetIdleTaskMemory( StaticTask_t **ppxIdleTaskTCBBuffer, StackType_t **ppxIdleTaskStackBuffer, uint32_t *pulIdleTaskStackSize )
{
  *ppxIdleTaskTCBBuffer = &xIdleTaskTCBBuffer;
  *ppxIdleTaskStackBuffer = &xIdleStack[0];
  *pulIdleTaskStackSize = configMINIMAL_STACK_SIZE;
  /* place for user code */
}
/* USER CODE END GET_IDLE_TASK_MEMORY */

/************************ (C) COPYRIGHT STMicroelectronics *****END OF FILE****/
